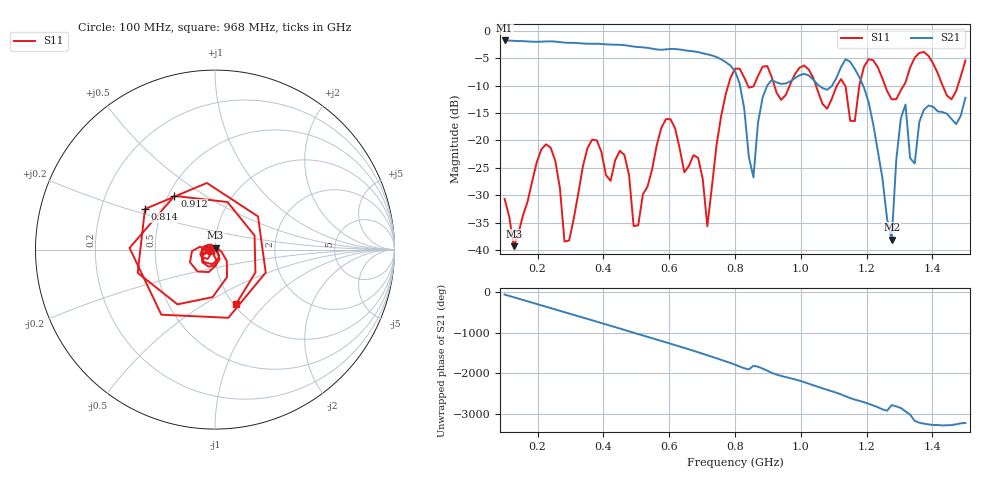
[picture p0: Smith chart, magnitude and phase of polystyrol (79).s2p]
! NanoVNA-App
! Date: 2025-09-26 09:42:30
! Start: 100MHz Stop: 1,5GHz Points: 101
! S-Parameter data: F S11 S21 S12 S22
# Hz S RI R 50
!  Frequency  S11_Real  S11_Imag  S21_Real  S21_Imag  S12_Real  S12_Imag  S22_Real  S22_Imag
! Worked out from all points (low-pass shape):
!   101 points, 100 MHz to 1.5 GHz, reference 50 ohm
!   highest |S21| = -1.79 dB at 100 MHz (marker M1); lowest = -38.1 dB at 1.276 GHz (marker M2)
!   |S21| within 3 dB of the highest: start of sweep to 743.2 MHz
!   lowest |S11| = -39.3 dB at 128 MHz (marker M3), VSWR 1.02, Z = 50.3 + j1.06 ohm
!   |S11| at or under -10 dB: start of sweep to 779.4 MHz; 1.046 GHz to 1.11 GHz (64.3 MHz wide, 5.96 % of centre); 1.256 GHz to 1.313 GHz (56.73 MHz wide, 4.42 % of centre)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
!   S12 and S22 are empty: the file has one direction only
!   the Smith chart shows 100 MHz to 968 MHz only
!   S11 on the Smith chart (normalised r, x): 100 MHz: 0.94, -0.01; 814 MHz: 0.40, +0.23; 912 MHz: 0.54, +0.38; 968 MHz: 1.03, -0.70
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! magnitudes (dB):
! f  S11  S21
! 100 MHz  -30.7  -1.8
! 128 MHz  -39.3  -1.9
! 212 MHz  -21.6  -2.0
! 254 MHz  -23.7  -2.0
! 282 MHz  -38.4  -2.2
! 338 MHz  -24.7  -2.3
! 464 MHz  -22.6  -2.6
! 506 MHz  -35.5  -3.0
! 576 MHz  -17.7  -3.5
! 688 MHz  -23.2  -3.9
! 716 MHz  -35.6  -4.3
! 800 MHz  -6.9  -7.4
! 814 MHz  -6.9  -9.6
! 856 MHz  -10.2  -26.7
! 912 MHz  -8.5  -9.0
! 968 MHz  -9.8  -9.2
! 1.038 GHz  -8.6  -8.9
! 1.178 GHz  -9.9  -8.5
! 1.276 GHz  -12.5  -38.1
! 1.318 GHz  -9.5  -13.5
! 1.346 GHz  -4.9  -24.2
! 1.5 GHz  -5.4  -12.2
